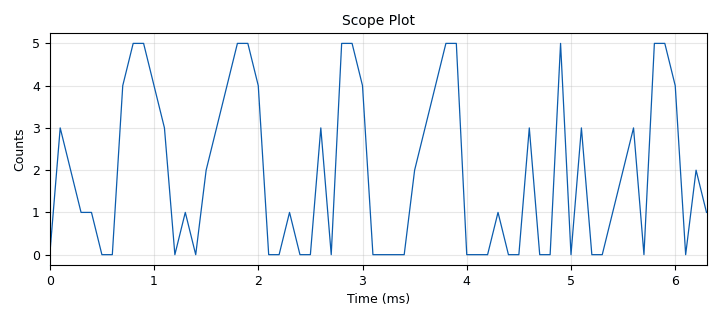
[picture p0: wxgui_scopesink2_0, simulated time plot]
<?xml version='1.0' encoding='utf-8'?>
<?grc format='1' created='3.7.10'?>
<flow_graph>
<block>
<key>options</key>
<param><key>id</key><value>top_block</value></param>
<param><key>category</key><value>Custom</value></param>
<param><key>generate_options</key><value>wx_gui</value></param>
</block>
<block>
<key>variable</key>
<param><key>id</key><value>SRRC_coeff</value></param>
<param><key>value</key><value>[1, 2, 3, 4, 5, 5, 4, 3, 2, 1]</value></param>
</block>
<block>
<key>variable</key>
<param><key>id</key><value>SRRC_coeff_len</value></param>
<param><key>value</key><value>10</value></param>
</block>
<block>
<key>variable</key>
<param><key>id</key><value>samp_rate</value></param>
<param><key>value</key><value>SRRC_coeff_len * signal_rate</value></param>
</block>
<block>
<key>variable</key>
<param><key>id</key><value>signal_rate</value></param>
<param><key>value</key><value>1000</value></param>
</block>
<block>
<key>analog_random_source_x</key>
<param><key>id</key><value>analog_random_source_x_0</value></param>
<param><key>max</key><value>2</value></param>
<param><key>min</key><value>0</value></param>
<param><key>num_samps</key><value>signal_rate</value></param>
<param><key>type</key><value>int</value></param>
<param><key>repeat</key><value>True</value></param>
</block>
<block>
<key>blocks_int_to_float</key>
<param><key>id</key><value>blocks_int_to_float_0</value></param>
<param><key>scale</key><value>1</value></param>
</block>
<block>
<key>blocks_multiply_const_vxx</key>
<param><key>id</key><value>blocks_multiply_const_vxx_0</value></param>
<param><key>const</key><value>SRRC_coeff</value></param>
<param><key>type</key><value>float</value></param>
<param><key>vlen</key><value>samp_rate / signal_rate</value></param>
</block>
<block>
<key>blocks_stream_to_vector</key>
<param><key>id</key><value>blocks_stream_to_vector_0</value></param>
<param><key>type</key><value>float</value></param>
<param><key>num_items</key><value>SRRC_coeff_len</value></param>
</block>
<block>
<key>blocks_throttle</key>
<param><key>id</key><value>blocks_throttle_0</value></param>
<param><key>samples_per_second</key><value>samp_rate</value></param>
<param><key>type</key><value>int</value></param>
</block>
<block>
<key>blocks_vector_to_stream</key>
<param><key>id</key><value>blocks_vector_to_stream_0</value></param>
<param><key>type</key><value>float</value></param>
<param><key>num_items</key><value>SRRC_coeff_len</value></param>
</block>
<block>
<key>virtual_sink</key>
<param><key>id</key><value>virtual_sink_0</value></param>
<param><key>stream_id</key><value>out_of_SRRCF</value></param>
</block>
<block>
<key>virtual_source</key>
<param><key>id</key><value>virtual_source_0</value></param>
<param><key>stream_id</key><value>out_of_SRRCF</value></param>
</block>
<block>
<key>wxgui_scopesink2</key>
<param><key>id</key><value>wxgui_scopesink2_0</value></param>
<param><key>ac_couple</key><value>False</value></param>
<param><key>num_inputs</key><value>1</value></param>
<param><key>samp_rate</key><value>samp_rate</value></param>
<param><key>t_scale</key><value>0</value></param>
<param><key>title</key><value>Scope Plot</value></param>
<param><key>trig_mode</key><value>wxgui.TRIG_MODE_AUTO</value></param>
<param><key>type</key><value>float</value></param>
<param><key>v_offset</key><value>0</value></param>
<param><key>v_scale</key><value>0</value></param>
<param><key>xy_mode</key><value>False</value></param>
<param><key>y_axis_label</key><value>Counts</value></param>
</block>
<connection><source_block_id>analog_random_source_x_0</source_block_id><sink_block_id>blocks_throttle_0</sink_block_id><source_key>0</source_key><sink_key>0</sink_key></connection>
<connection><source_block_id>blocks_int_to_float_0</source_block_id><sink_block_id>blocks_stream_to_vector_0</sink_block_id><source_key>0</source_key><sink_key>0</sink_key></connection>
<connection><source_block_id>blocks_multiply_const_vxx_0</source_block_id><sink_block_id>blocks_vector_to_stream_0</sink_block_id><source_key>0</source_key><sink_key>0</sink_key></connection>
<connection><source_block_id>blocks_stream_to_vector_0</source_block_id><sink_block_id>blocks_multiply_const_vxx_0</sink_block_id><source_key>0</source_key><sink_key>0</sink_key></connection>
<connection><source_block_id>blocks_throttle_0</source_block_id><sink_block_id>blocks_int_to_float_0</sink_block_id><source_key>0</source_key><sink_key>0</sink_key></connection>
<connection><source_block_id>blocks_vector_to_stream_0</source_block_id><sink_block_id>virtual_sink_0</sink_block_id><source_key>0</source_key><sink_key>0</sink_key></connection>
<connection><source_block_id>virtual_source_0</source_block_id><sink_block_id>wxgui_scopesink2_0</sink_block_id><source_key>0</source_key><sink_key>0</sink_key></connection>
</flow_graph>
